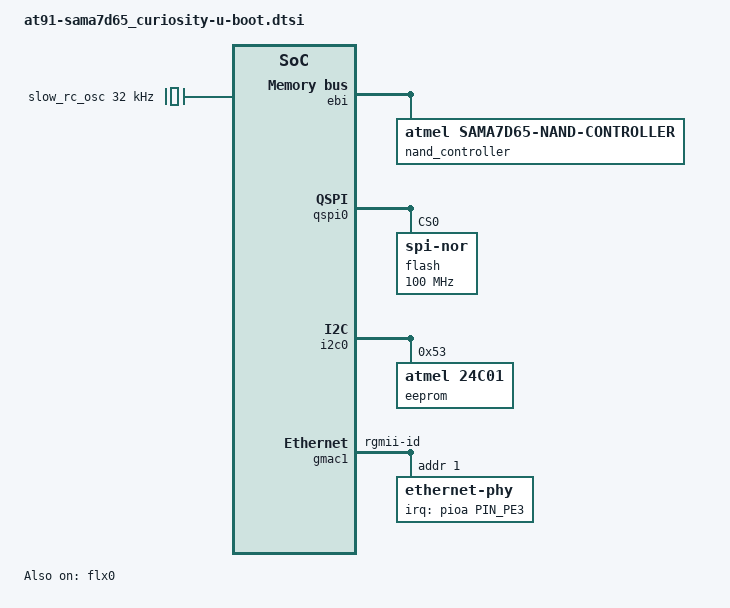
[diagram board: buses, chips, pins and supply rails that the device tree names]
// SPDX-License-Identifier: (GPL-2.0+ OR MIT)
/*
 *  at91-sama7d65_curiosity-u-boot.dtsi - Device Tree Include file for
 *  SAMA7D65 CURIOSITY.
 *
 *  Copyright (c) 2023 Microchip Technology Inc. and its subsidiaries
 *
 *  Author: Ryan Wanner <ryan.wanner@microchip.com>
 */

/{
	aliases {
		serial0 = &uart6;
	};

	chosen {
		bootph-all;
	};

	clocks {
		slow_rc_osc: slow_rc_osc {
			compatible = "fixed-clock";
			#clock-cells = <0>;
			clock-frequency = <32000>;
		};
	};

	cpus {
		cpu@0 {
			clocks = <&pmc PMC_TYPE_CORE 8>, <&pmc PMC_TYPE_CORE 26>, <&main_xtal>;
			clock-names = "cpu", "master", "xtal";
		};
	};

	soc {
		bootph-all;

		nfc_sram: sram@600000 {
			compatible = "mmio-sram";
			no-memory-wc;
			reg = <0x00600000 0x2400>;
			#address-cells = <1>;
			#size-cells = <1>;
			ranges = <0 0x00600000 0x2400>;
		};

		nfc_io: nfc-io@10000000 {
			compatible = "atmel,sama5d3-nfc-io", "syscon";
			reg = <0x10000000 0x8000000>;
		};

		ebi: ebi@40000000 {
			compatible = "microchip,sama7d65-ebi", "atmel,sama5d3-ebi";
			#address-cells = <2>;
			#size-cells = <1>;
			atmel,smc = <&hsmc>;
			reg = <0x40000000 0x18000000>;
			ranges = <0x0 0x0 0x40000000 0x8000000
				  0x1 0x0 0x48000000 0x10000000>;
			clocks = <&pmc PMC_TYPE_CORE 31>; /* PMC_MCK5 */
			pinctrl-names = "default";
			pinctrl-0 = <&pinctrl_nand_default>;

			nand_controller: nand-controller {
				compatible = "atmel,sama7d65-nand-controller", "atmel,sama5d3-nand-controller";
				atmel,nfc-sram = <&nfc_sram>;
				atmel,nfc-io = <&nfc_io>;
				ecc-engine = <&pmecc>;
				#address-cells = <2>;
				#size-cells = <1>;
				ranges;

				nand@0 {
					reg = <0x0 0x0 0x1000000>;
					atmel,rb = <0>;
					nand-bus-width = <8>;
					nand-ecc-mode = "hw";
					nand-ecc-strength = <8>;
					nand-ecc-step-size = <512>;
					nand-on-flash-bbt;
					label = "at91-nand";
				};
			};
		};

		hsmc: hsmc@e0808000 {
			compatible = "atmel,sama5d2-smc", "syscon", "simple-mfd";
			reg = <0xe0808000 0x1000>;
			interrupts = <GIC_SPI 20 IRQ_TYPE_LEVEL_HIGH>;
			clocks = <&pmc PMC_TYPE_PERIPHERAL 20>;
			#address-cells = <1>;
			#size-cells = <1>;
			ranges;

			pmecc: ecc-engine@e0808070 {
				compatible = "microchip,sama7d65-pmecc", "atmel,sama5d2-pmecc";
				reg = <0xe0808070 0x490>,
				      <0xe0808500 0x200>;
			};
		};

		qspi0: spi@e080c000 {
			compatible = "microchip,sama7d65-ospi";
			reg = <0xe080c000 0x400>, <0x20000000 0x1000000>; // limit to 16 MiB
			reg-names = "qspi_base", "qspi_mmap"; // mmap max size 256 MiB
			interrupts = <GIC_SPI 73 IRQ_TYPE_LEVEL_HIGH>;
			dmas = <&dma0 AT91_XDMAC_DT_PERID(41)>,
			       <&dma0 AT91_XDMAC_DT_PERID(40)>;
			dma-names = "tx", "rx";
			clocks = <&pmc PMC_TYPE_PERIPHERAL 73>, <&pmc PMC_TYPE_GCK 73>;
			clock-names = "pclk", "gclk";
			assigned-clock-parents = <&pmc PMC_TYPE_CORE 10>; // ID_PLL_SYS_DIV
			assigned-clocks = <&pmc PMC_TYPE_GCK 73>;
			#address-cells = <1>;
			#size-cells = <0>;
			pinctrl-names = "default";
			pinctrl-0 = <&pinctrl_qspi0_default>;

			flash@0 {
				compatible = "jedec,spi-nor";
				reg = <0x0>;
				spi-max-frequency = <100000000>;
				spi-tx-bus-width = <4>;
				spi-rx-bus-width = <4>;
				m25p,fast-read;
			};
		};
	};
};

&clk32k {
	clocks = <&slow_rc_osc>, <&slow_xtal>;
};

&flx0 {
	atmel,flexcom-mode = <ATMEL_FLEXCOM_MODE_TWI>;
	status = "okay";
};

&i2c0 {
	pinctrl-names = "default";
	pinctrl-0 = <&pinctrl_i2c0_default>;
	i2c-analog-filter;
	i2c-digital-filter;
	i2c-digital-filter-width-ns = <35>;
	status = "okay";

	eeprom@53 {
		compatible = "atmel,24c01";
		reg = <0x53>;
		pagesize = <8>;
		status = "okay";
	};
};

&gmac1 {
	#address-cells = <1>;
	#size-cells = <0>;
	pinctrl-names = "default";
	pinctrl-0 = <&pinctrl_gmac1_default
		     &pinctrl_gmac1_mdc_default
		     &pinctrl_gmac1_mdio_default
		     &pinctrl_gmac1_txck_default
		     &pinctrl_gmac1_phy_irq>;
	phy-mode = "rgmii-id";
	status = "okay";

	ethernet-phy@1 {
		reg = <0x1>;
		interrupt-parent = <&pioa>;
		interrupts = <PIN_PE3 IRQ_TYPE_LEVEL_LOW>;
		status = "okay";
	};
};

&main_xtal {
	bootph-all;
};

&pioa {
	bootph-all;

	pinctrl_gmac1_default: gmac1-default{
		pinmux = <PIN_PD22__G1_TX0>,
			 <PIN_PD23__G1_TX1>,
			 <PIN_PE0__G1_TX2>,
			 <PIN_PE1__G1_TX3>,
			 <PIN_PD27__G1_RX0>,
			 <PIN_PD28__G1_RX1>,
			 <PIN_PD30__G1_RX2>,
			 <PIN_PD31__G1_RX3>,
			 <PIN_PD21__G1_TXCTL>,
			 <PIN_PE2__G1_RXCK>,
			 <PIN_PD24__G1_RXCTL>;
		slew-rate = <0>;
		bias-disable;
	};

	pinctrl_gmac1_mdc_default: gmac1-mdc-default {
		pinmux = <PIN_PD25__G1_MDC>;
		bias-disable;
	};

	pinctrl_gmac1_mdio_default: gmac1-mdio-default {
		pinmux = <PIN_PD26__G1_MDIO>;
		bias-pull-up; /* if R30 is not mounted on LAN8840 EDS2 Daughter Card */
	};

	pinctrl_gmac1_phy_irq: gmac1-phy-irq {
		pinmux = <PIN_PE3__GPIO>;
		bias-disable;
	};

	pinctrl_gmac1_txck_default: gmac1-txck-default {
		pinmux = <PIN_PD29__G1_REFCK>;
		slew-rate = <0>;
		bias-pull-up;
	};

	pinctrl_i2c0_default: i2c0-default {
		pinmux = <PIN_PC7__FLEXCOM0_IO0>,
			 <PIN_PC6__FLEXCOM0_IO1>;
		bias-disable;
	};

	pinctrl_nand_default: nand-default {
		pinmux = <PIN_PA0__NWER0>,
			 <PIN_PA1__A21>,
			 <PIN_PA2__A22>,
			 <PIN_PA3__D0>,
			 <PIN_PA4__D1>,
			 <PIN_PA5__D4>,
			 <PIN_PA6__D5>,
			 <PIN_PA7__D6>,
			 <PIN_PA8__D7>,
			 <PIN_PA9__D2>,
			 <PIN_PA10__D3>,
			 <PIN_PA11__NANDRDY>,
			 <PIN_PA12__NRD>,
			 <PIN_PA13__NCS0>;
		slew-rate = <0>;
		bias-disable;
	};

	pinctrl_qspi0_default: qspi0-default {
		pinmux = <PIN_PB8__QSPI0_IO3>,
			 <PIN_PB9__QSPI0_IO2>,
			 <PIN_PB10__QSPI0_IO1>,
			 <PIN_PB11__QSPI0_IO0>,
			 <PIN_PB12__QSPI0_CS>,
			 <PIN_PB13__QSPI0_SCK>;
		bias-disable;
		atmel,drive-strength = <ATMEL_PIO_DRVSTR_2>;
		slew-rate = <0>;
	};
};

&pinctrl_uart6_default {
	bootph-all;
};

&pit64b0 {
	bootph-all;
};

&pmc {
	bootph-all;
};

&sdmmc1 {
	assigned-clock-parents = <&pmc PMC_TYPE_CORE 27>; /* MCK1 div */
	microchip,sdcal-inverted;
	no-1-8-v;
};

&slow_rc_osc {
	bootph-all;
};

&slow_xtal {
	bootph-all;
};

&uart6 {
	bootph-all;
};
